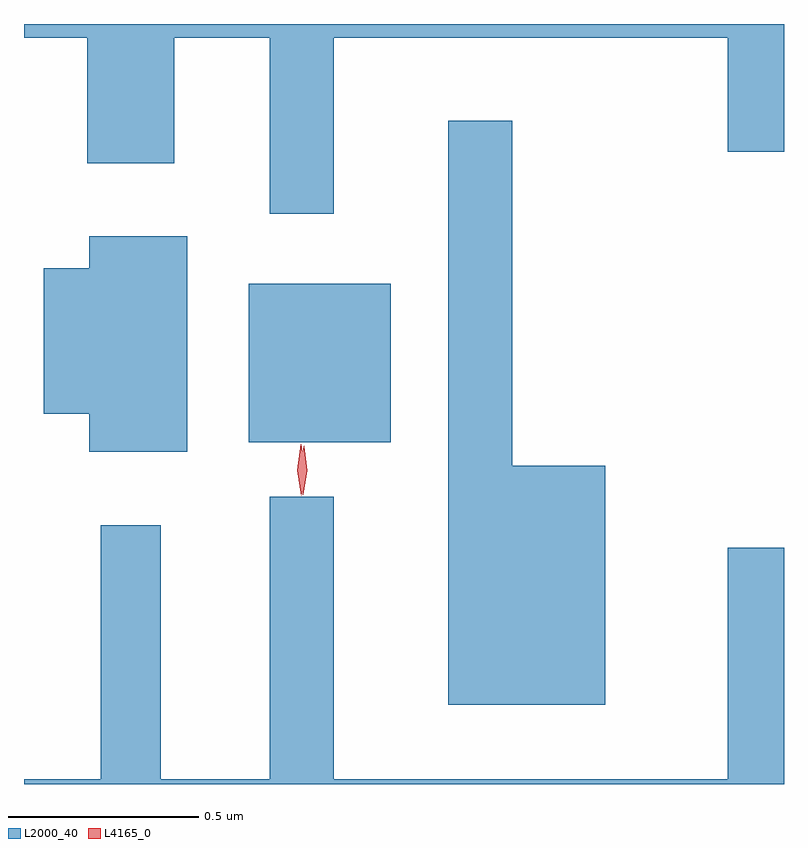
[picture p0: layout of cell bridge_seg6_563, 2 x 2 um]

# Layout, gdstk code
import gdstk
lib = gdstk.Library(unit=1e-6, precision=1e-09)
def R(c, l, rs):  # rectangles x0, y0, x1, y1
    for r in rs: c.add(gdstk.rectangle(r[:2], r[2:], *l))
def P(c, l, *ps):  # polygons
    for p in ps: c.add(gdstk.Polygon(p, *l))
L2000_40 = (2000, 40)
L4165_0 = (4165, 0)

bridge_seg6_563 = lib.new_cell('bridge_seg6_563')
R(bridge_seg6_563, L2000_40, [(553.476,1666.631,553.849,1667.049)])
P(bridge_seg6_563, L2000_40, [(553.699,1667.696),(554.736,1667.696),(554.736,1667.396),(554.884,1667.396),(554.884,1667.732),(552.884,1667.732),(552.884,1667.696),(553.051,1667.696),(553.051,1667.366),(553.279,1667.366),(553.279,1667.696),(553.531,1667.696),(553.531,1667.233),(553.699,1667.233)],
  [(554.414,1666.569),(554.169,1666.569),(554.169,1667.478),(554.001,1667.478),(554.001,1665.941),(554.414,1665.941)],
  [(553.314,1667.174),(553.056,1667.174),(553.056,1667.089),(552.936,1667.089),(552.936,1666.706),(553.056,1666.706),(553.056,1666.606),(553.314,1666.606)],
  [(554.884,1666.354),(554.736,1666.354),(554.736,1665.744),(553.699,1665.744),(553.699,1666.488),(553.531,1666.488),(553.531,1665.744),(553.244,1665.744),(553.244,1666.413),(553.086,1666.413),(553.086,1665.744),(552.884,1665.744),(552.884,1665.732),(554.884,1665.732)])
P(bridge_seg6_563, L4165_0, [(553.613,1666.49),(553.603,1666.558),(553.612,1666.626),(553.612,1666.626),(553.613,1666.626),(553.623,1666.558),(553.614,1666.49),(553.614,1666.49)],
  [(553.618,1666.493),(553.618,1666.493),(553.61,1666.558),(553.62,1666.621),(553.621,1666.622),(553.621,1666.621),(553.63,1666.557),(553.619,1666.493)])

lib.write_gds('bridge_seg6_563.gds')
